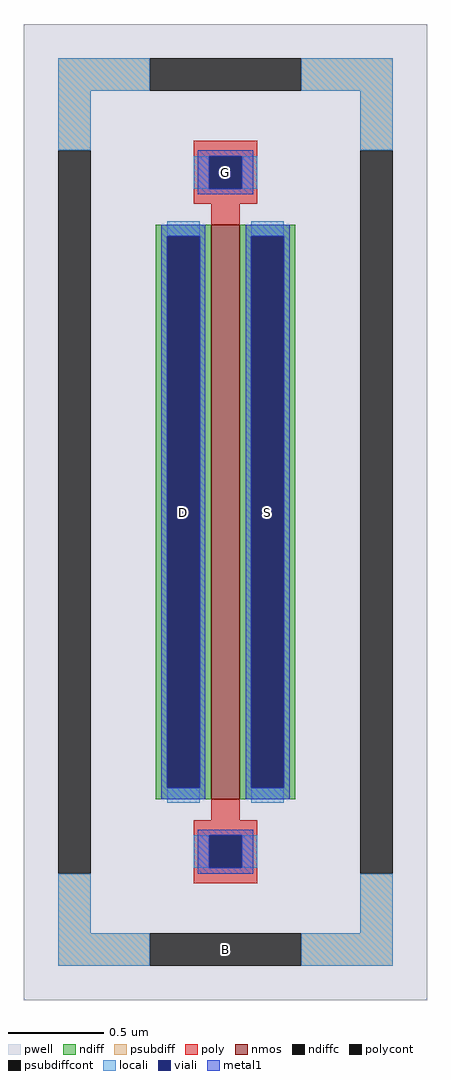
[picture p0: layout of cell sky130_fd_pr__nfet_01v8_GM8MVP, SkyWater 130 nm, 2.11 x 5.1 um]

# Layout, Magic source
magic
tech sky130A
magscale 1 2
<< pwell >>
rect -211 -510 211 510
<< nmos >>
rect -15 -300 15 300
<< ndiff >>
rect -73 288 -15 300
rect -73 -288 -61 288
rect -27 -288 -15 288
rect -73 -300 -15 -288
rect 15 288 73 300
rect 15 -288 27 288
rect 61 -288 73 288
rect 15 -300 73 -288
<< ndiffc >>
rect -61 -288 -27 288
rect 27 -288 61 288
<< psubdiff >>
rect -175 440 -79 474
rect 79 440 175 474
rect -175 378 -141 440
rect 141 378 175 440
rect -175 -440 -141 -378
rect 141 -440 175 -378
rect -175 -474 -79 -440
rect 79 -474 175 -440
<< psubdiffcont >>
rect -79 440 79 474
rect -175 -378 -141 378
rect 141 -378 175 378
rect -79 -474 79 -440
<< poly >>
rect -33 372 33 388
rect -33 338 -17 372
rect 17 338 33 372
rect -33 322 33 338
rect -15 300 15 322
rect -15 -322 15 -300
rect -33 -338 33 -322
rect -33 -372 -17 -338
rect 17 -372 33 -338
rect -33 -388 33 -372
<< polycont >>
rect -17 338 17 372
rect -17 -372 17 -338
<< locali >>
rect -175 440 -79 474
rect 79 440 175 474
rect -175 378 -141 440
rect 141 378 175 440
rect -33 338 -17 372
rect 17 338 33 372
rect -61 288 -27 304
rect -61 -304 -27 -288
rect 27 288 61 304
rect 27 -304 61 -288
rect -33 -372 -17 -338
rect 17 -372 33 -338
rect -175 -440 -141 -378
rect 141 -440 175 -378
rect -175 -474 -79 -440
rect 79 -474 175 -440
<< viali >>
rect -17 338 17 372
rect -61 -288 -27 288
rect 27 -288 61 288
rect -17 -372 17 -338
<< metal1 >>
rect -29 372 29 378
rect -29 338 -17 372
rect 17 338 29 372
rect -29 332 29 338
rect -67 288 -21 300
rect -67 -288 -61 288
rect -27 -288 -21 288
rect -67 -300 -21 -288
rect 21 288 67 300
rect 21 -288 27 288
rect 61 -288 67 288
rect 21 -300 67 -288
rect -29 -338 29 -332
rect -29 -372 -17 -338
rect 17 -372 29 -338
rect -29 -378 29 -372
<< labels >>
rlabel psubdiffcont 0 -457 0 -457 0 B
port 21 nsew
rlabel ndiffc -44 0 -44 0 0 D
port 22 nsew
rlabel ndiffc 44 0 44 0 0 S
port 23 nsew
rlabel polycont 0 355 0 355 0 G
port 24 nsew
<< properties >>
string FIXED_BBOX -615 -457 158 457
string gencell sky130_fd_pr__nfet_01v8
string library sky130
string parameters w 3.0 l 0.15 m 1 nf 1 diffcov 100 polycov 100 guard 1 glc 1 grc 1 gtc 1 gbc 1 tbcov 100 rlcov 100 topc 1 botc 1 poverlap 0 doverlap 1 lmin 0.15 wmin 0.42 class mosfet compatible {sky130_fd_pr__nfet_01v8 sky130_fd_pr__nfet_01v8_lvt  sky130_fd_bs_flash__special_sonosfet_star  sky130_fd_pr__nfet_g5v0d10v5 sky130_fd_pr__nfet_05v0_nvt  sky130_fd_pr__nfet_03v3_nvt} full_metal 1 conn_gates 0 viasrc 100 viadrn 100 viagate 100 viagb 0 viagr 0 viagl 0 viagt 0 doports 1 ad 0.87 as 0.87 pd 6.58 ps 6.58 nrd 0.0966666666666667 nrs 0.0966666666666667 sa 0 sb 0 sd 0 mult 1
<< end >>
